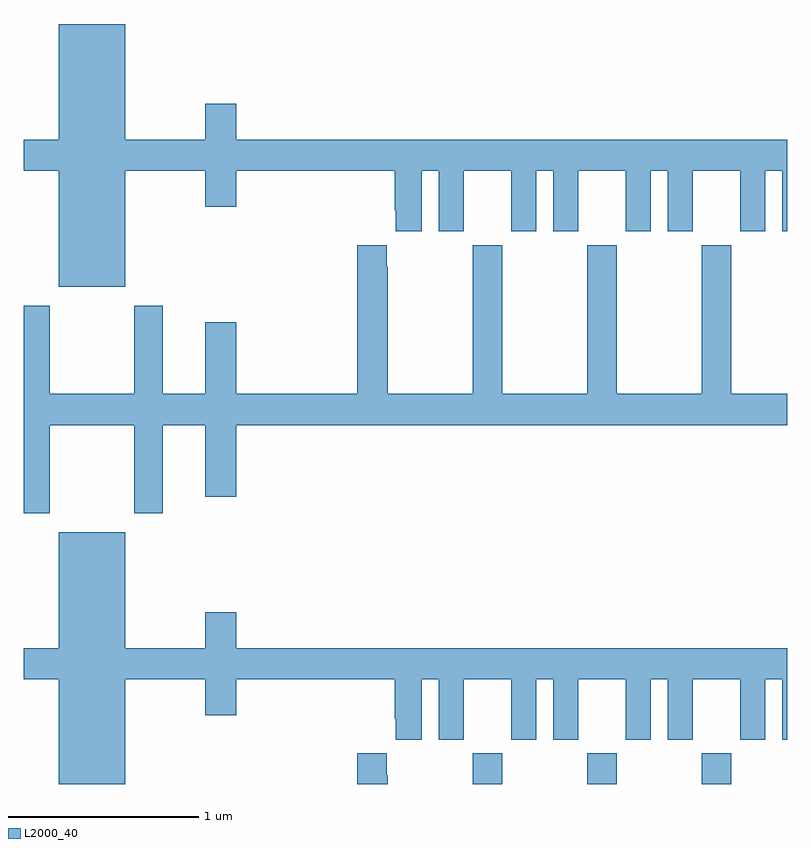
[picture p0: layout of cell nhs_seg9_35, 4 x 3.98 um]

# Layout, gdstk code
import gdstk
lib = gdstk.Library(unit=1e-6, precision=1e-09)
def R(c, l, rs):  # rectangles x0, y0, x1, y1
    for r in rs: c.add(gdstk.rectangle(r[:2], r[2:], *l))
def A(c, l, x, y, w, h, nx, ny, dx, dy):  # array of equal rectangles
    R(c, l, [(x+i*dx, y+j*dy, x+i*dx+w, y+j*dy+h) for i in range(nx) for j in range(ny)])
def P(c, l, *ps):  # polygons
    for p in ps: c.add(gdstk.Polygon(p, *l))
L2000_40 = (2000, 40)

nhs_seg9_35 = lib.new_cell('nhs_seg9_35')
A(nhs_seg9_35, L2000_40, 113.353, 1234.5, 0.155, 0.16, 3, 1, 0.6, 0)
P(nhs_seg9_35, L2000_40, [(111.532,1237.712),(111.95,1237.712),(111.95,1237.524),(112.114,1237.524),(112.114,1237.712),(112.943,1237.712),(112.943,1237.507),(112.949,1237.507),(112.949,1237.395),(113.086,1237.395),(113.086,1237.712),(113.174,1237.712),(113.174,1237.395),(113.305,1237.395),(113.305,1237.712),(113.555,1237.712),(113.555,1237.395),(113.686,1237.395),(113.686,1237.712),(113.774,1237.712),(113.774,1237.395),(113.905,1237.395),(113.905,1237.712),(114.155,1237.712),(114.155,1237.395),(114.286,1237.395),(114.286,1237.712),(114.374,1237.712),(114.374,1237.395),(114.505,1237.395),(114.505,1237.712),(114.755,1237.712),(114.755,1237.395),(114.886,1237.395),(114.886,1237.712),(114.974,1237.712),(114.974,1237.395),(115,1237.395),(115,1237.876),(112.114,1237.876),(112.114,1238.065),(111.95,1238.065),(111.95,1237.876),(111.532,1237.876),(111.532,1238.482),(111.182,1238.482),(111.182,1237.876),(111,1237.876),(111,1237.712),(111.182,1237.712),(111.182,1237.106),(111.532,1237.106)],
  [(111.135,1236.38),(111.58,1236.38),(111.58,1235.919),(111.727,1235.919),(111.727,1236.38),(111.95,1236.38),(111.95,1236.006),(112.114,1236.006),(112.114,1236.38),(115,1236.38),(115,1236.544),(114.708,1236.544),(114.708,1237.324),(114.553,1237.324),(114.553,1236.544),(114.108,1236.544),(114.108,1237.324),(113.953,1237.324),(113.953,1236.544),(113.508,1236.544),(113.508,1237.324),(113.353,1237.324),(113.353,1236.544),(112.908,1236.544),(112.908,1237.211),(112.903,1237.211),(112.903,1237.324),(112.748,1237.324),(112.748,1236.544),(112.114,1236.544),(112.114,1236.919),(111.95,1236.919),(111.95,1236.544),(111.727,1236.544),(111.727,1237.006),(111.58,1237.006),(111.58,1236.544),(111.135,1236.544),(111.135,1237.006),(111,1237.006),(111,1235.919),(111.135,1235.919)],
  [(111.532,1235.048),(111.95,1235.048),(111.95,1234.86),(112.114,1234.86),(112.114,1235.048),(112.943,1235.048),(112.943,1234.843),(112.949,1234.843),(112.949,1234.731),(113.086,1234.731),(113.086,1235.048),(113.174,1235.048),(113.174,1234.731),(113.305,1234.731),(113.305,1235.048),(113.555,1235.048),(113.555,1234.731),(113.686,1234.731),(113.686,1235.048),(113.774,1235.048),(113.774,1234.731),(113.905,1234.731),(113.905,1235.048),(114.155,1235.048),(114.155,1234.731),(114.286,1234.731),(114.286,1235.048),(114.374,1235.048),(114.374,1234.731),(114.505,1234.731),(114.505,1235.048),(114.755,1235.048),(114.755,1234.731),(114.886,1234.731),(114.886,1235.048),(114.974,1235.048),(114.974,1234.731),(115,1234.731),(115,1235.212),(112.114,1235.212),(112.114,1235.401),(111.95,1235.401),(111.95,1235.212),(111.532,1235.212),(111.532,1235.818),(111.182,1235.818),(111.182,1235.212),(111,1235.212),(111,1235.048),(111.182,1235.048),(111.182,1234.5),(111.532,1234.5)],
  [(112.908,1234.547),(112.903,1234.547),(112.903,1234.66),(112.748,1234.66),(112.748,1234.5),(112.908,1234.5)])

lib.write_gds('nhs_seg9_35.gds')
